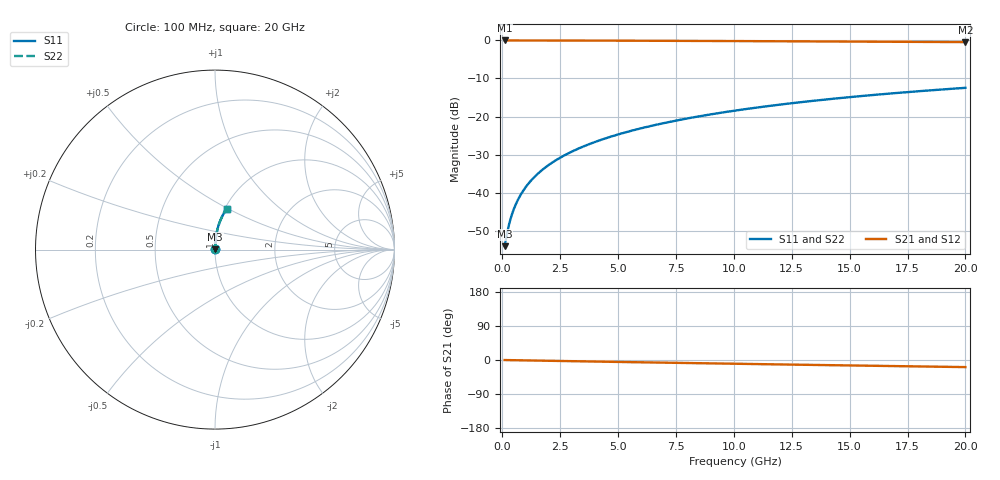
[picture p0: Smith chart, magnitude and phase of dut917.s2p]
! Touchstone file exported from HFSS 2024.1.0
!  File:  C:/UserFiles/LocalFiles/RDL_TSV_Batchsim/temp_RDL_bottom_917_1779940731.aedt
!  Generated:  12:01:50 PM May 28, 2026
!  Design:  RDL_bottom
!  Project:  temp_RDL_bottom_917_1779940731
!  Setup:  Setup1
!  Solution:  Sweep
! Variables:
!  dtsv = 10.80580581um
!  hbump = 3um
!  htsv = 99.36um
!  ldown = 189.23um
!  lrdl = 100um
!  p = 40
!  p1 = 57.53um
!  rhole = 1um
!  t = 450um
!  tdown = 2.87um
!  trdl = 3.915915916um
!  wdown = 17.46um
!  wrdl = 20um
# GHz S MA R 50.000000
! Terminal data exported
! Port[1] = RDL1_T1
! Port[2] = RDL1_T2
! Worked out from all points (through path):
!   200 points, 100 MHz to 20 GHz, reference 50 ohm
!   highest |S21| = -0.01 dB at 100 MHz (marker M1); lowest = -0.4 dB at 20 GHz (marker M2)
!   group delay of S21, straight-line fit = 2.59 ps
!   lowest |S11| = -54.0 dB at 100 MHz (marker M3), VSWR 1.00, Z = 50.2 + j0.12 ohm
!   |S11| at or under -10 dB: start of sweep to end of sweep
!   |S22| runs from -54.0 to -12.5 dB; largest |S21 - S12| = 2.6e-15
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0.1  0.001986 37.2  0.9984 -0.1  0.9984 -0.1  0.001986 37.2
! Gamma 0 0 0 0
! Port Impedance 50 0 50 0
0.2  0.002884 56.0  0.9984 -0.2  0.9984 -0.2  0.002884 56.0
0.3  0.003928 65.1  0.9983 -0.3  0.9983 -0.3  0.003928 65.1
0.4  0.005017 70.2  0.9983 -0.4  0.9983 -0.4  0.005017 70.2
0.5  0.00612 73.5  0.9982 -0.5  0.9982 -0.5  0.00612 73.5
0.6  0.007231 75.8  0.9981 -0.6  0.9981 -0.6  0.007231 75.8
0.8  0.009464 78.8  0.998 -0.8  0.998 -0.8  0.009464 78.8
1.1  0.01284 81.4  0.9978 -1.2  0.9978 -1.2  0.01284 81.4
1.5  0.01738 83.3  0.9975 -1.6  0.9975 -1.6  0.01738 83.3
1.8  0.0208 84.2  0.9973 -1.9  0.9973 -1.9  0.0208 84.2
2.1  0.02424 84.8  0.997 -2.2  0.997 -2.2  0.02424 84.8
2.7  0.03115 85.5  0.9963 -2.8  0.9963 -2.8  0.03115 85.5
3.5  0.04047 85.9  0.9952 -3.6  0.9952 -3.6  0.04047 85.9
4.2  0.0487 86.0  0.994 -4.3  0.994 -4.3  0.0487 86.0
5  0.05821 85.9  0.9925 -5.1  0.9925 -5.1  0.05821 85.9
5.9  0.06901 85.6  0.9906 -6.0  0.9906 -6.0  0.06901 85.6
6.8  0.07992 85.1  0.9885 -6.9  0.9885 -6.9  0.07991 85.1
8.3  0.09824 84.2  0.9848 -8.3  0.9848 -8.3  0.09824 84.2
10.1  0.1203 82.8  0.9801 -10.0  0.9801 -10.0  0.1203 82.8
13.4  0.1607 79.9  0.9707 -13.0  0.9707 -13.0  0.1606 79.9
16.7  0.2001 76.9  0.9606 -15.9  0.9606 -15.9  0.2001 76.9
20  0.2383 73.9  0.9497 -18.7  0.9497 -18.7  0.2383 73.9
